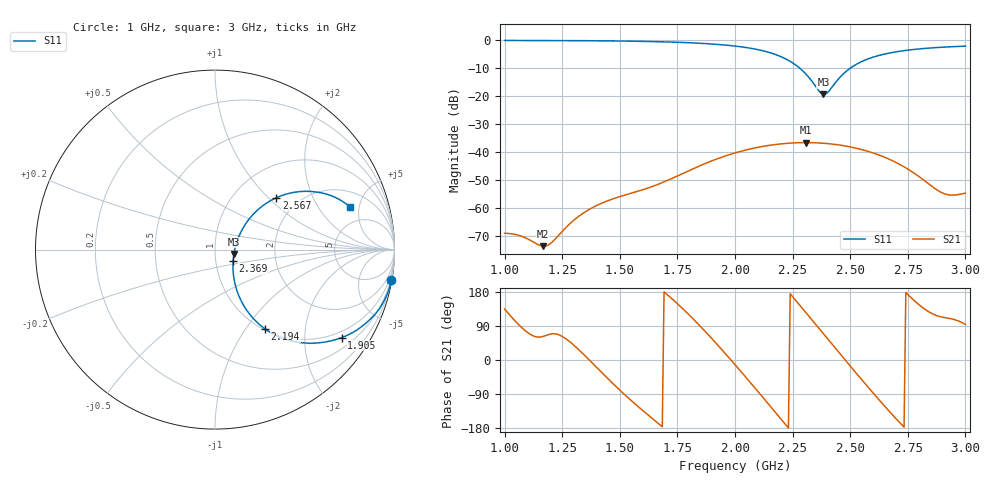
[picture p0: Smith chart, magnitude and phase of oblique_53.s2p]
! TOUCHSTONE file generated by CST MICROWAVE STUDIO
! Date and time: Tue Mar 18 00:01:20 2025
! Project name: oblique.cst
! Parameters = {Tilt=30; Fracture=1; B=10; D=160; F=25; Feed=2.85625; L=100; M=50; R=0.384908; S=2; Theta=180; length=57.125; wave=114.25}
! Header version: 2024
! Port assignment regex: !\s*Touchstone port\s*([0-9]+)\s*=\s*(CST MWS port|CST DES external port|CST DES block port)\s*(.+)\s* \(\"(.*)\"\)(\s*mode\s*([0-9]+))?.*
! Touchstone port assignment:
! Touchstone port 1 = CST MWS port 1 ("")
! Touchstone port 2 = CST MWS port 2 ("")
# GHz S DB R 50
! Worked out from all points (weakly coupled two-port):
!   264 points, 1 GHz to 3 GHz, reference 50 ohm
!   highest |S21| = -36.55 dB at 2.308 GHz (marker M1); lowest = -73.6 dB at 1.167 GHz (marker M2)
!   lowest |S11| = -19.3 dB at 2.384 GHz (marker M3), VSWR 1.24, Z = 61.7 - j3.02 ohm
!   |S11| at or under -10 dB: 2.282 GHz to 2.499 GHz (217.1 MHz wide, 9.08 % of centre)
!   S12 and S22 are empty: the file has one direction only
!   S11 on the Smith chart (normalised r, x): 1 GHz: 0, -12; 1.905 GHz: 0.80, -3.00; 2.194 GHz: 1.02, -1.24; 2.369 GHz: 1.21, -0.16; 2.567 GHz: 1.55, +1.12; 3 GHz: 3.19, +4.03
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1  -0.02 -9.8  -68.98 134.4  -200.00 0.0  -200.00 0.0
1.06844  -0.03 -10.7  -69.90 88.8  -200.00 0.0  -200.00 0.0
1.1673  -0.04 -12.3  -73.59 62.1  -200.00 0.0  -200.00 0.0
1.19772  -0.05 -12.8  -72.73 68.2  -200.00 0.0  -200.00 0.0
1.3346  -0.10 -15.3  -62.16 19.8  -200.00 0.0  -200.00 0.0
1.44106  -0.16 -17.7  -57.55 -44.8  -200.00 0.0  -200.00 0.0
1.6692  -0.47 -24.3  -51.37 -168.5  -200.00 0.0  -200.00 0.0
1.90494  -1.32 -34.8  -42.90 52.9  -200.00 0.0  -200.00 0.0
2.0038  -2.06 -41.0  -40.15 -14.9  -200.00 0.0  -200.00 0.0
2.19392  -5.63 -57.7  -37.06 -151.7  -200.00 0.0  -200.00 0.0
2.25475  -8.30 -62.3  -36.66 163.7  -200.00 0.0  -200.00 0.0
2.30798  -12.04 -61.5  -36.55 124.6  -200.00 0.0  -200.00 0.0
2.3384  -15.10 -54.1  -36.59 102.3  -200.00 0.0  -200.00 0.0
2.36882  -18.48 -32.1  -36.70 79.9  -200.00 0.0  -200.00 0.0
2.38403  -19.32 -12.9  -36.78 68.7  -200.00 0.0  -200.00 0.0
2.40684  -18.22 15.3  -36.95 52.0  -200.00 0.0  -200.00 0.0
2.48289  -11.04 42.6  -37.82 -3.5  -200.00 0.0  -200.00 0.0
2.56654  -6.97 40.2  -39.42 -63.8  -200.00 0.0  -200.00 0.0
2.673  -4.48 33.0  -42.63 -137.8  -200.00 0.0  -200.00 0.0
2.90114  -2.43 21.0  -54.58 112.9  -200.00 0.0  -200.00 0.0
2.93916  -2.26 19.6  -55.33 108.7  -200.00 0.0  -200.00 0.0
3  -2.06 17.6  -54.63 94.1  -200.00 0.0  -200.00 0.0
